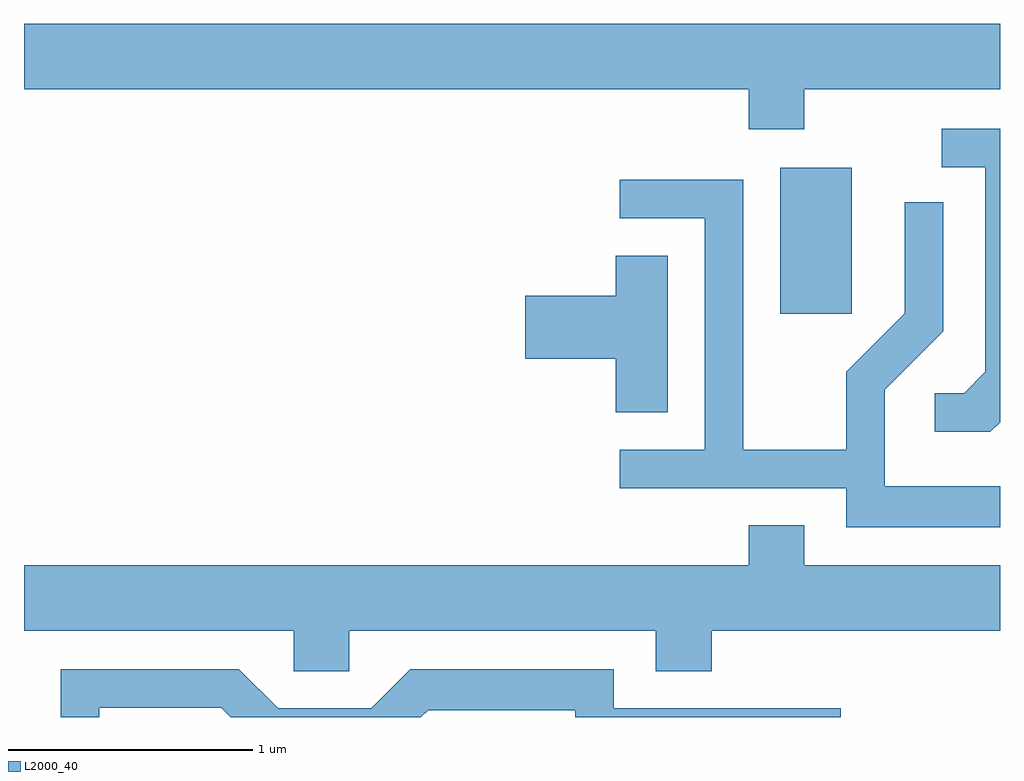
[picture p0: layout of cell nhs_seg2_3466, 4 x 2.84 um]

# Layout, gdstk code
import gdstk
lib = gdstk.Library(unit=1e-6, precision=1e-09)
def R(c, l, rs):  # rectangles x0, y0, x1, y1
    for r in rs: c.add(gdstk.rectangle(r[:2], r[2:], *l))
def P(c, l, *ps):  # polygons
    for p in ps: c.add(gdstk.Polygon(p, *l))
L2000_40 = (2000, 40)

nhs_seg2_3466 = lib.new_cell('nhs_seg2_3466')
R(nhs_seg2_3466, L2000_40, [(290.711,987.456,291.004,988.054)])
P(nhs_seg2_3466, L2000_40, [(290.809,988.376),(291.611,988.376),(291.611,988.644),(287.611,988.644),(287.611,988.376),(290.581,988.376),(290.581,988.211),(290.809,988.211)],
  [(291.611,987.01),(291.611,988.214),(291.373,988.214),(291.373,988.056),(291.551,988.056),(291.551,987.217),(291.464,987.129),(291.343,987.129),(291.343,986.971),(291.572,986.971)],
  [(291.611,986.749),(291.139,986.749),(291.139,987.144),(291.379,987.384),(291.379,987.913),(291.221,987.913),(291.221,987.457),(290.981,987.217),(290.981,986.899),(290.559,986.899),(290.559,988.004),(290.053,988.004),(290.053,987.846),(290.401,987.846),(290.401,986.899),(290.053,986.899),(290.053,986.741),(290.981,986.741),(290.981,986.581),(291.611,986.581)],
  [(290.249,987.694),(290.036,987.694),(290.036,987.529),(289.666,987.529),(289.666,987.271),(290.036,987.271),(290.036,987.051),(290.249,987.051)],
  [(288.944,986.156),(290.201,986.156),(290.201,985.991),(290.429,985.991),(290.429,986.156),(291.611,986.156),(291.611,986.424),(290.809,986.424),(290.809,986.589),(290.581,986.589),(290.581,986.424),(287.611,986.424),(287.611,986.156),(288.716,986.156),(288.716,985.991),(288.944,985.991)],
  [(287.919,985.841),(288.419,985.841),(288.458,985.802),(289.238,985.802),(289.267,985.831),(289.871,985.831),(289.871,985.802),(290.958,985.802),(290.958,985.839),(290.029,985.839),(290.029,985.999),(289.194,985.999),(289.034,985.839),(288.652,985.839),(288.492,985.999),(287.761,985.999),(287.761,985.802),(287.919,985.802)])

lib.write_gds('nhs_seg2_3466.gds')
